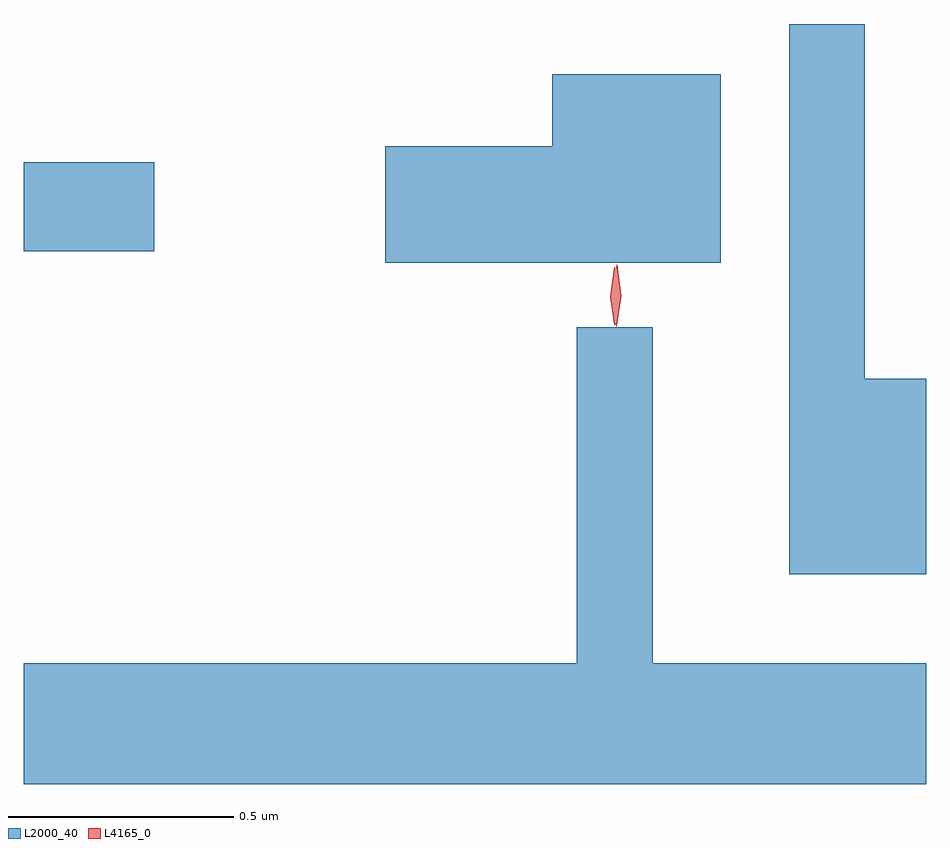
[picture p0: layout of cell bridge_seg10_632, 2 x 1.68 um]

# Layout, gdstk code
import gdstk
lib = gdstk.Library(unit=1e-6, precision=1e-09)
def R(c, l, rs):  # rectangles x0, y0, x1, y1
    for r in rs: c.add(gdstk.rectangle(r[:2], r[2:], *l))
def P(c, l, *ps):  # polygons
    for p in ps: c.add(gdstk.Polygon(p, *l))
L2000_40 = (2000, 40)
L4165_0 = (4165, 0)

bridge_seg10_632 = lib.new_cell('bridge_seg10_632')
R(bridge_seg10_632, L2000_40, [(658.865,2146.176,659.154,2146.374)])
P(bridge_seg10_632, L2000_40, [(660.865,2145.894),(660.729,2145.894),(660.729,2146.68),(660.561,2146.68),(660.561,2145.461),(660.865,2145.461)],
  [(660.409,2146.569),(660.036,2146.569),(660.036,2146.409),(659.666,2146.409),(659.666,2146.151),(660.409,2146.151)],
  [(660.865,2145.264),(660.259,2145.264),(660.259,2146.008),(660.091,2146.008),(660.091,2145.264),(658.865,2145.264),(658.865,2144.996),(660.865,2144.996)])
P(bridge_seg10_632, L4165_0, [(660.175,2146.013),(660.174,2146.014),(660.165,2146.076),(660.174,2146.14),(660.175,2146.14),(660.176,2146.14),(660.185,2146.076),(660.176,2146.014)],
  [(660.178,2146.01),(660.178,2146.01),(660.169,2146.078),(660.179,2146.146),(660.18,2146.146),(660.18,2146.146),(660.189,2146.078),(660.179,2146.01)])

lib.write_gds('bridge_seg10_632.gds')
